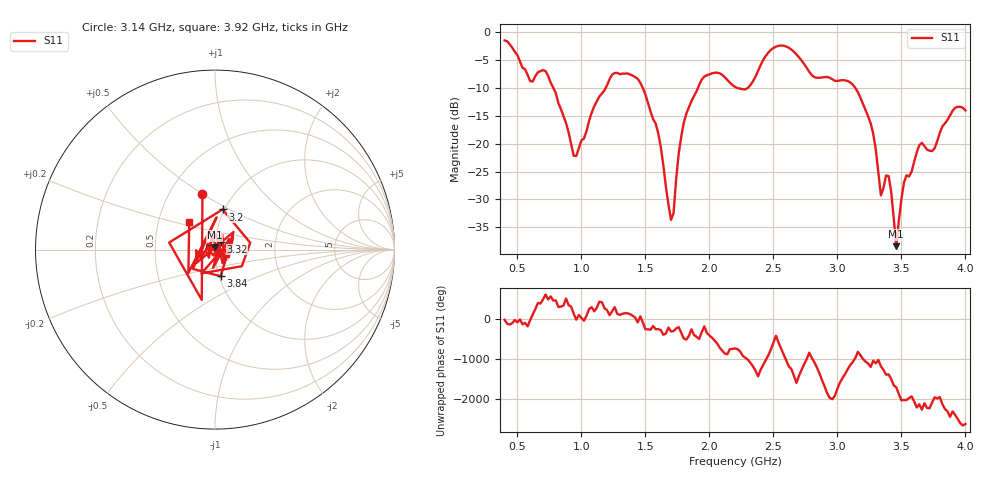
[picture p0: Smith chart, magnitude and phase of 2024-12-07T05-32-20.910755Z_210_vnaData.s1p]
!Created with skrf (http://scikit-rf.org).
# Hz S RI R 50.0
!freq ReS11 ImS11
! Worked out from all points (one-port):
!   181 points, 400 MHz to 4 GHz, reference 50 ohm
!   lowest |S11| = -38.4 dB at 3.46 GHz (marker M1), VSWR 1.02, Z = 49.9 + j1.19 ohm
!   |S11| at or under -10 dB: 780.9 MHz to 1.19 GHz (408.8 MHz wide, 41.5 % of centre); 1.48 GHz to 1.91 GHz (430.6 MHz wide, 25.4 % of centre); 3.14 GHz to end of sweep (the widest 3 of 4)
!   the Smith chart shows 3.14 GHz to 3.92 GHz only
!   S11 on the Smith chart (normalised r, x): 3.14 GHz: 0.73, +0.50; 3.2 GHz: 0.98, +0.46; 3.32 GHz: 1.06, +0.09; 3.84 GHz: 1.02, -0.31; 3.92 GHz: 0.72, +0.23
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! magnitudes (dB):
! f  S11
! 400 MHz  -1.5
! 600 MHz  -8.8
! 720 MHz  -7.0
! 860 MHz  -15.0
! 960 MHz  -22.2
! 1.3 GHz  -7.5
! 1.44 GHz  -8.4
! 1.58 GHz  -16.4
! 1.7 GHz  -33.7
! 1.76 GHz  -21.8
! 1.82 GHz  -14.6
! 1.96 GHz  -8.0
! 2.2 GHz  -9.8
! 2.66 GHz  -3.5
! 3.1 GHz  -9.0
! 3.14 GHz  -10.0
! 3.2 GHz  -12.8
! 3.32 GHz  -25.2
! 3.34 GHz  -29.3
! 3.4 GHz  -25.8
! 3.46 GHz  -38.4
! 3.52 GHz  -27.0
! 3.56 GHz  -25.9
! 3.64 GHz  -20.3
! 3.74 GHz  -21.3
! 3.84 GHz  -16.4
! 3.92 GHz  -13.6
! 4 GHz  -14.0
